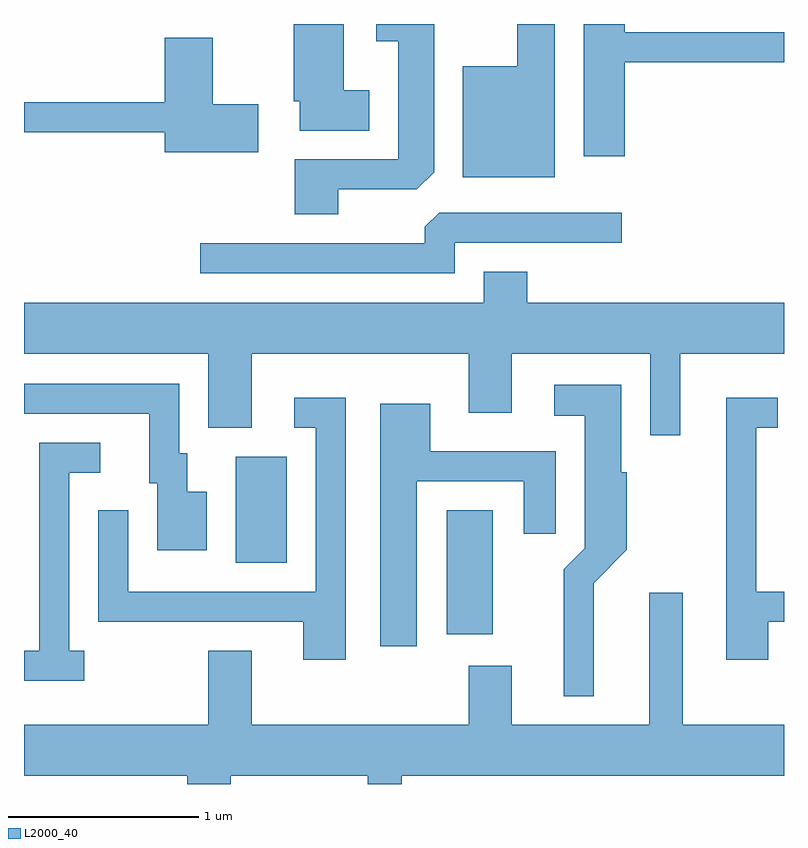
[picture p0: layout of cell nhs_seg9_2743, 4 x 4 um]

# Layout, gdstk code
import gdstk
lib = gdstk.Library(unit=1e-6, precision=1e-09)
def R(c, l, rs):  # rectangles x0, y0, x1, y1
    for r in rs: c.add(gdstk.rectangle(r[:2], r[2:], *l))
def P(c, l, *ps):  # polygons
    for p in ps: c.add(gdstk.Polygon(p, *l))
L2000_40 = (2000, 40)

nhs_seg9_2743 = lib.new_cell('nhs_seg9_2743')
R(nhs_seg9_2743, L2000_40, [(267.836,1999.221,268.079,1999.874), (266.726,1999.596,266.994,2000.154)])
P(nhs_seg9_2743, L2000_40, [(267.264,2001.561),(267.679,2001.561),(267.769,2001.652),(267.769,2002.432),(267.466,2002.432),(267.466,2002.341),(267.581,2002.341),(267.581,2001.719),(267.036,2001.719),(267.036,2001.431),(267.264,2001.431)],
  [(267.429,2002.084),(267.294,2002.084),(267.294,2002.432),(267.031,2002.432),(267.031,2002.026),(267.061,2002.026),(267.061,2001.871),(267.429,2001.871)],
  [(268.404,2002.432),(268.206,2002.432),(268.206,2002.209),(267.921,2002.209),(267.921,2001.626),(268.404,2001.626)],
  [(268.774,2002.231),(269.611,2002.231),(269.611,2002.389),(268.774,2002.389),(268.774,2002.432),(268.556,2002.432),(268.556,2001.736),(268.774,2001.736)],
  [(266.844,2002.009),(266.604,2002.009),(266.604,2002.359),(266.351,2002.359),(266.351,2002.019),(265.611,2002.019),(265.611,2001.861),(266.351,2001.861),(266.351,2001.756),(266.844,2001.756)],
  [(267.879,2001.281),(268.758,2001.281),(268.758,2001.439),(267.797,2001.439),(267.721,2001.364),(267.721,2001.279),(266.538,2001.279),(266.538,2001.121),(267.879,2001.121)],
  [(269.064,2000.696),(269.611,2000.696),(269.611,2000.964),(268.259,2000.964),(268.259,2001.129),(268.031,2001.129),(268.031,2000.964),(265.611,2000.964),(265.611,2000.696),(266.581,2000.696),(266.581,2000.306),(266.809,2000.306),(266.809,2000.696),(267.951,2000.696),(267.951,2000.386),(268.179,2000.386),(268.179,2000.696),(268.906,2000.696),(268.906,2000.268),(269.064,2000.268)],
  [(266.574,1999.969),(266.469,1999.969),(266.469,2000.174),(266.429,2000.174),(266.429,2000.539),(265.611,2000.539),(265.611,2000.381),(266.271,2000.381),(266.271,2000.016),(266.311,2000.016),(266.311,1999.661),(266.574,1999.661)],
  [(268.609,1999.489),(268.784,1999.664),(268.784,2000.074),(268.754,2000.074),(268.754,2000.534),(268.403,2000.534),(268.403,2000.371),(268.561,2000.371),(268.561,1999.672),(268.451,1999.562),(268.451,1998.893),(268.609,1998.893)],
  [(267.304,2000.464),(267.033,2000.464),(267.033,2000.306),(267.146,2000.306),(267.146,1999.444),(266.159,1999.444),(266.159,1999.873),(266.001,1999.873),(266.001,1999.286),(267.081,1999.286),(267.081,1999.086),(267.304,1999.086)],
  [(269.529,1999.286),(269.611,1999.286),(269.611,1999.444),(269.464,1999.444),(269.464,2000.306),(269.578,2000.306),(269.578,2000.464),(269.306,2000.464),(269.306,1999.086),(269.529,1999.086)],
  [(267.679,2000.026),(268.241,2000.026),(268.241,1999.748),(268.409,1999.748),(268.409,2000.184),(267.749,2000.184),(267.749,2000.434),(267.486,2000.434),(267.486,1999.156),(267.679,1999.156)],
  [(265.928,1999.134),(265.849,1999.134),(265.849,2000.071),(266.013,2000.071),(266.013,2000.229),(265.691,2000.229),(265.691,1999.134),(265.611,1999.134),(265.611,1998.976),(265.928,1998.976)],
  [(266.699,1998.476),(267.421,1998.476),(267.421,1998.432),(267.599,1998.432),(267.599,1998.476),(269.611,1998.476),(269.611,1998.744),(269.079,1998.744),(269.079,1999.439),(268.901,1999.439),(268.901,1998.744),(268.179,1998.744),(268.179,1999.054),(267.951,1999.054),(267.951,1998.744),(266.809,1998.744),(266.809,1999.134),(266.581,1999.134),(266.581,1998.744),(265.611,1998.744),(265.611,1998.476),(266.471,1998.476),(266.471,1998.432),(266.699,1998.432)])

lib.write_gds('nhs_seg9_2743.gds')
